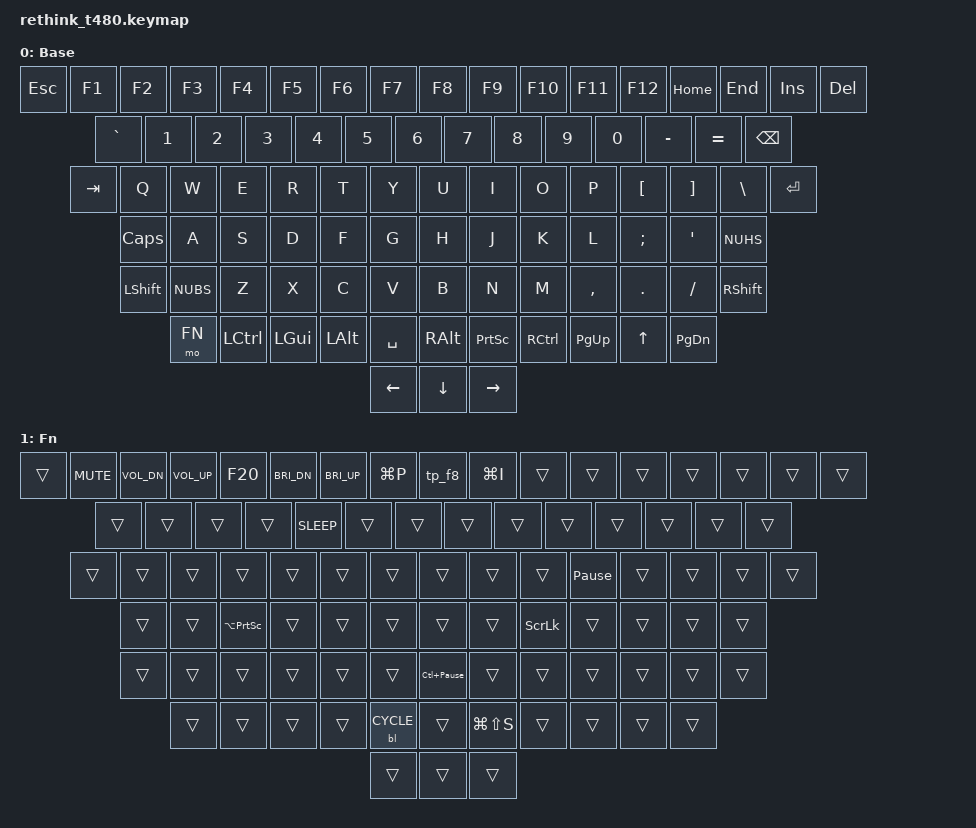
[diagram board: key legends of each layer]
/*
 * Copyright (c) 2026 Ziemniaczenka
 * SPDX-License-Identifier: MIT
 *
 * ThinkPad T480, UK ISO or US ANSI. Each key sends the standard key code of
 * its position; the host's layout (Norwegian, UK, US, ...) gives the
 * legends. The comments name the keys by their UK ISO legends: ` left of 1,
 * # left of Enter (NUHS), \ right of LShift (NUBS); "\ ANSI" is the ANSI
 * keyboard's \ above Enter (BSLH). The ISO keyboard lacks \ ANSI, the ANSI
 * one # and \ right of LShift.
 *
 * F1-F12 send F1-F12. Fn does what the keycaps show where a standard key
 * code exists: mute, volume down/up, mic mute (F20, which Linux treats as mic
 * mute), brightness down/up, display (Win+P) and settings (Win+I) on F1-F9,
 * and the ThinkPad's sleep on 4, ScrLk on K, Pause on P, Break on B, SysRq
 * on S, the snipping tool (Win+Shift+S) on PrtSc. Fn lock (Fn+Esc and its
 * LED), Bluetooth, keyboard settings and the star key are left out for
 * now. Fn+Space cycles the backlight: low, high, off.
 *
 * Fn+F8 (airplane mode on the keycap, which has no key code) switches the
 * TrackPoint on and off; Ctrl+Fn+F8 recalibrates it, with the hands off the
 * stick; Shift+Fn+F8 switches scrolling with the middle button held on and
 * off (off: a plain middle button, for programs that pan with it), kept in
 * flash. The T480's and E580's sticks have no press-to-select (clicking by
 * pressing the stick), so Alt+Fn+F8 isn't bound to it.
 */

#include <behaviors.dtsi>
#include <dt-bindings/zmk/backlight.h>
#include <dt-bindings/zmk/keys.h>
#include <dt-bindings/rethink/trackpoint.h>

#define FN 1

/ {
    behaviors {
        // Fn+F8: TrackPoint on/off; with Ctrl: recalibrate; with Shift:
        // middle-button scrolling on/off. No press-to-select: this
        // generation's sticks lack it
        tp_f8: tp_f8 {
            compatible = "zmk,behavior-mod-morph";
            #binding-cells = <0>;
            bindings = <&tp_f8_ctrl>, <&tp TP_SCROLL_TOG>;
            mods = <(MOD_LSFT|MOD_RSFT)>;
        };
        tp_f8_ctrl: tp_f8_ctrl {
            compatible = "zmk,behavior-mod-morph";
            #binding-cells = <0>;
            bindings = <&tp TP_TOG>, <&tp TP_RECAL>;
            mods = <(MOD_LCTL|MOD_RCTL)>;
        };
    };

    keymap {
        compatible = "zmk,keymap";

        base_layer {
            display-name = "Base";
            bindings = <
                // Esc      F1      F2      F3      F4      F5      F6      F7      F8      F9      F10      F11      F12      Home      End      Insert   Delete
                   &kp ESC  &kp F1  &kp F2  &kp F3  &kp F4  &kp F5  &kp F6  &kp F7  &kp F8  &kp F9  &kp F10  &kp F11  &kp F12  &kp HOME  &kp END  &kp INS  &kp DEL
                // `          1       2       3       4       5       6       7       8       9       0       -          =          Bksp
                   &kp GRAVE  &kp N1  &kp N2  &kp N3  &kp N4  &kp N5  &kp N6  &kp N7  &kp N8  &kp N9  &kp N0  &kp MINUS  &kp EQUAL  &kp BSPC
                // Tab      Q      W      E      R      T      Y      U      I      O      P      [         ]         \ ANSI    Enter
                   &kp TAB  &kp Q  &kp W  &kp E  &kp R  &kp T  &kp Y  &kp U  &kp I  &kp O  &kp P  &kp LBKT  &kp RBKT  &kp BSLH  &kp RET
                // Caps      A      S      D      F      G      H      J      K      L      ;         '        # ISO
                   &kp CAPS  &kp A  &kp S  &kp D  &kp F  &kp G  &kp H  &kp J  &kp K  &kp L  &kp SEMI  &kp SQT  &kp NUHS
                // LShift     \ ISO     Z      X      C      V      B      N      M      ,          .        /         RShift
                   &kp LSHFT  &kp NUBS  &kp Z  &kp X  &kp C  &kp V  &kp B  &kp N  &kp M  &kp COMMA  &kp DOT  &kp FSLH  &kp RSHFT
                // Fn      LCtrl      Win       LAlt      Space      AltGr     PrtSc      RCtrl      PgUp       Up      PgDn
                   &mo FN  &kp LCTRL  &kp LGUI  &kp LALT  &kp SPACE  &kp RALT  &kp PSCRN  &kp RCTRL  &kp PG_UP  &kp UP  &kp PG_DN
                // Left      Down      Right
                   &kp LEFT  &kp DOWN  &kp RIGHT
            >;
        };

        fn_layer {
            display-name = "Fn";
            bindings = <
                // Esc     F1          F2            F3            F4       F5            F6            F7         F8      F9         F10     F11     F12     Home    End     Insert  Delete
                   &trans  &kp C_MUTE  &kp C_VOL_DN  &kp C_VOL_UP  &kp F20  &kp C_BRI_DN  &kp C_BRI_UP  &kp LG(P)  &tp_f8  &kp LG(I)  &trans  &trans  &trans  &trans  &trans  &trans  &trans
                // `       1       2       3       4            5       6       7       8       9       0       -       =       Bksp
                   &trans  &trans  &trans  &trans  &kp C_SLEEP  &trans  &trans  &trans  &trans  &trans  &trans  &trans  &trans  &trans
                // Tab     Q       W       E       R       T       Y       U       I       O       P                [       ]       \ ANSI  Enter
                   &trans  &trans  &trans  &trans  &trans  &trans  &trans  &trans  &trans  &trans  &kp PAUSE_BREAK  &trans  &trans  &trans  &trans
                // Caps    A       S              D       F       G       H       J       K         L       ;       '       # ISO
                   &trans  &trans  &kp LA(PSCRN)  &trans  &trans  &trans  &trans  &trans  &kp SLCK  &trans  &trans  &trans  &trans
                // LShift  \ ISO   Z       X       C       V       B                    N       M       ,       .       /       RShift
                   &trans  &trans  &trans  &trans  &trans  &trans  &kp LC(PAUSE_BREAK)  &trans  &trans  &trans  &trans  &trans  &trans
                // Fn      LCtrl   Win     LAlt    Space         AltGr   PrtSc          RCtrl   PgUp    Up      PgDn
                   &trans  &trans  &trans  &trans  &bl BL_CYCLE  &trans  &kp LG(LS(S))  &trans  &trans  &trans  &trans
                // Left    Down    Right
                   &trans  &trans  &trans
            >;
        };
    };
};
